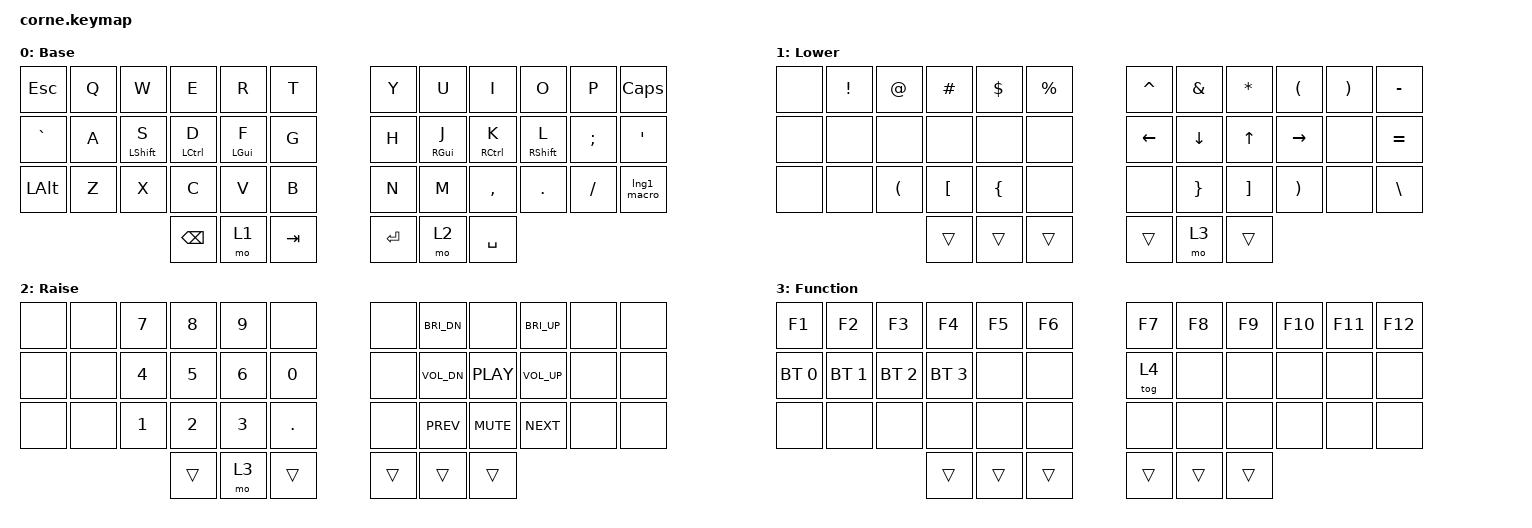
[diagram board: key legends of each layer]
/*
 * Copyright (c) 2020 The ZMK Contributors
 *
 * SPDX-License-Identifier: MIT
 */

#include <behaviors.dtsi>
#include <dt-bindings/zmk/keys.h>
#include <dt-bindings/zmk/bt.h>

/ {

    behaviors {
        mt: mod_tap {
            compatible = "zmk,behavior-hold-tap";
            #binding-cells = <2>;
            flavor = "tap-preferred";
            tapping-term-ms = <200>;
            bindings = <&kp>, <&kp>;
            display-name = "Mod-Tap";
        };
    };

    macros {
        lng1_macro: lng1_macro {
            compatible = "zmk,behavior-macro";
            label = "LNG1_MACRO";
            #binding-cells = <0>;
            bindings = <&macro_press &kp LALT &kp LCTRL>,
                       <&macro_tap &kp SPACE>,
                       <&macro_release &kp LALT &kp LCTRL>;
        };
    };

        keymap {
                compatible = "zmk,keymap";

                default_layer {
// -----------------------------------------------------------------------------------------
// |  ESC |  Q  |  W  |  E  |  R  |  T  |   |  Y  |  U   |  I  |  O  |  P  | CAPS |
// | GRV  |  A  |S/SFT|D/CTL|F/GUI|  G  |   |  H  |J/GUI|K/CTL|L/SFT|  ;  |  '   |
// | ALT  |  Z  |  X  |  C  |  V  |  B  |   |  N  |  M  |  ,  |  .  |  /  | LNG1 |
//                    | BSPC| FN1 | TAB |   | ENT | FN2 | SPC |
                        display-name = "Base";
                        bindings = <
   &kp ESC         &kp Q &kp W       &kp E       &kp R        &kp T           &kp Y &kp U        &kp I       &kp O   &kp P    &kp CAPS
   &kp GRAVE       &kp A &mt LSHFT S &mt LCTRL D &mt LGUI F   &kp G           &kp H &mt RGUI J   &mt RCTRL K &mt RSHFT L &kp SEMI &kp SQT
   &kp LALT        &kp Z &kp X       &kp C       &kp V        &kp B           &kp N &kp M        &kp COMMA   &kp DOT &kp FSLH &lng1_macro
                                      &kp BSPC    &mo 1        &kp TAB         &kp RET &mo 2      &kp SPACE
                        >;
                };
                lower_layer {
// -----------------------------------------------------------------------------------------
// | NO   |  !  |  @  |  #  |  $  |  %  |   |  ^  |  &  |  *  |  (  |  )  |  -   |
// | NO   | NO  | NO  | NO  | NO  | NO  |   | LFT | DWN | UP  | RGT | NO  |  =   |
// | NO   | NO  | (   | [   | {   | NO  |   | NO  |  }  |  ]  |  )  | NO  |  \   |
//                    | TRNS| TRNS| TRNS|   | TRNS| FN3 | TRNS|
                        display-name = "Lower";
                        bindings = <
   &none  &kp EXCL &kp AT   &kp HASH &kp DLLR &kp PRCNT   &kp CARET &kp AMPS  &kp ASTRK  &kp LPAR  &kp RPAR &kp MINUS
   &none  &none    &none    &none    &none    &none       &kp LEFT  &kp DOWN  &kp UP    &kp RIGHT &none    &kp EQUAL
   &none  &none    &kp LPAR &kp LBKT &kp LBRC &none       &none     &kp RBRC  &kp RBKT  &kp RPAR  &none    &kp BSLH
                            &trans   &trans   &trans      &trans    &mo 3     &trans
                        >;
                };

                raise_layer {
// -----------------------------------------------------------------------------------------
// | NO   | NO   |  7  |  8  |  9  | NO   |   | NO  | BRID| NO  | BRIU| NO  | NO   |
// | NO   | NO   |  4  |  5  |  6  |  0   |   | NO  | VOLD|MPLY | VOLU| NO  | NO   |
// | NO   | NO   |  1  |  2  |  3  | DOT  |   | NO  | MPRV|MUTE | MNXT| NO  | NO   |
//                    | TRNS| FN3 | TRNS |   | TRNS| TRNS| TRNS|
                        display-name = "Raise";
                        bindings = <
   &none &none &kp N7 &kp N8 &kp N9 &none       &none        &kp C_BRI_DN &none        &kp C_BRI_UP &none &none
   &none &none &kp N4 &kp N5 &kp N6 &kp N0      &none        &kp C_VOL_DN &kp C_PLAY   &kp C_VOL_UP &none &none
   &none &none &kp N1 &kp N2 &kp N3 &kp DOT     &none        &kp C_PREV   &kp C_MUTE   &kp C_NEXT   &none &none
                      &trans &mo 3  &trans      &trans       &trans       &trans
                        >;
                };

                function_layer {
// -----------------------------------------------------------------------------------------
// |  F1  |  F2  |  F3  |  F4  |  F5  |  F6  |   |  F7  |  F8  |  F9  |  F10 |  F11 |  F12 |
// | BT0  | BT1  | BT2  | BT3  | NO   | NO   |   | TOG5 | NO   | NO   | NO   | NO   | NO   |
// | NO   | NO   | NO   | NO   | NO   | NO   |   | NO   | NO   | NO   | NO   | NO   | NO   |
//                       | TRNS | TRNS | TRNS |   | TRNS | TRNS | TRNS |
                        display-name = "Function";
                        bindings = <
   &kp F1 &kp F2 &kp F3 &kp F4 &kp F5 &kp F6   &kp F7 &kp F8 &kp F9  &kp F10 &kp F11 &kp F12
   &bt BT_SEL 0 &bt BT_SEL 1 &bt BT_SEL 2 &bt BT_SEL 3 &none &none &tog 4 &none &none &none &none &none
   &none  &none  &none  &none  &none  &none    &none  &none  &none   &none   &none   &none
                        &trans &trans &trans   &trans &trans &trans
                        >;
                };

                extra_1 {
                        status = "reserved";
                };

                extra_2 {
                        status = "reserved";
                };

                extra_3 {
                        status = "reserved";
                };
        };
};
